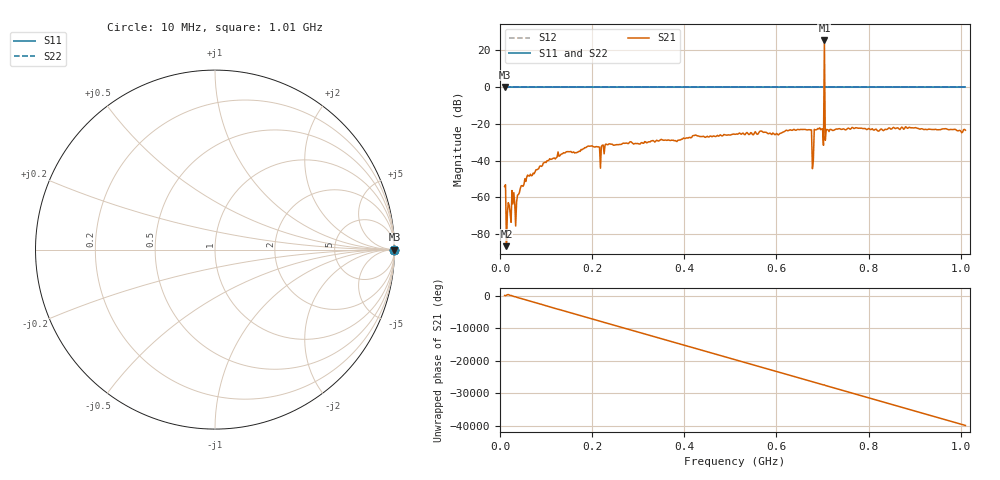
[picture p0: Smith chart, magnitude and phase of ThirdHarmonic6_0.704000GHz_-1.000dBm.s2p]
! 8/15/2025 11:32:01 PM
! C:\ANRITSUVNA\TEMP\TEMP.S2P
! CHANNEL.1
! TR.MEASUREMENT
! RAW.DATA
! RF.CORRECTION.OFF
! AVERAGING.OFF
! IF.BANDWIDTH: 5KHZ
! SWEEPTYPE:  FREQ.SWEEP(Linear)
! Reference Plane Port Info
! PORT:  PORT1  PORT2
! DISTANCE:  0  m  0  m
! TIME:  0  s  0  s
! PHASE.OFFSET:  0  deg.  0  deg.
! LOSS:  0  dB  0  dB
! REF.LOSS:  0  dB  0  dB
! REF.FREQ:  0  Hz  0  Hz
! Power Info
! POWER:  -20  dBm  -20  dBm
! EFF.POWER:  -20  dBm  -20  dBm
! SOURCE.ATTEN:  0  dB  0  dB
! TEST.ATTEN:  0  dB  0  dB
# GHZ S RI R 50.0
! FREQ.GHZ  S11RE  S11IM  S21RE  S21IM  S12RE  S12IM  S22RE  S22IM
!; PortSelection: Port_12
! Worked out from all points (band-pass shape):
!   501 points, 10 MHz to 1.01 GHz, reference 50 ohm
!   highest |S21| = 25.33 dB at 704 MHz (marker M1); lowest = -86.6 dB at 14 MHz (marker M2)
!   |S21| within 3 dB of the highest: 703.8948 MHz to 704.1105 MHz (215.7 kHz wide, 0.0306 % of centre)
!   lowest |S11| = 0.0 dB at 10 MHz (marker M3)
!   |S11| at or under -10 dB: nowhere
!   |S22| runs from 0.0 to 0.0 dB; largest |S21 - S12| = 18
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0.01  1 0  0.00188 0.000576  1 0  1 0
0.014  1 0  9.4e-06 4.6e-05  1 0  1 0
0.018  1 0  0.000344 -0.000626  1 0  1 0
0.028  1 0  -0.000617 0.00023  1 0  1 0
0.036  1 0  -0.000734 -0.00012  1 0  1 0
0.042  1 0  0.000778 -0.00108  1 0  1 0
0.058  1 0  0.00324 0.00143  1 0  1 0
0.098  1 0  -0.00903 -0.00111  1 0  1 0
0.178  1 0  -0.0196 -0.0021  1 0  1 0
0.344  1 0  0.0294 -0.0169  1 0  1 0
0.51  1 0  -0.0311 0.0412  1 0  1 0
0.672  1 0  0.0188 0.0664  1 0  1 0
0.678  1 0  -0.0045 -0.00397  1 0  1 0
0.682  1 0  0.0585 0.0396  1 0  1 0
0.686  1 0  -0.0436 -0.0532  1 0  1 0
0.698  1 0  -0.0208 0.0693  1 0  1 0
0.7  1 0  0.0658 0.0305  1 0  1 0
0.704  1 0  12.03 -14.01  1 0  1 0
0.708  1 0  0.0393 0.0574  1 0  1 0
0.71  1 0  0.0635 -0.0284  1 0  1 0
0.844  1 0  0.07 -0.0336  1 0  1 0
1.01  1 0  -0.0207 0.0636  1 0  1 0
